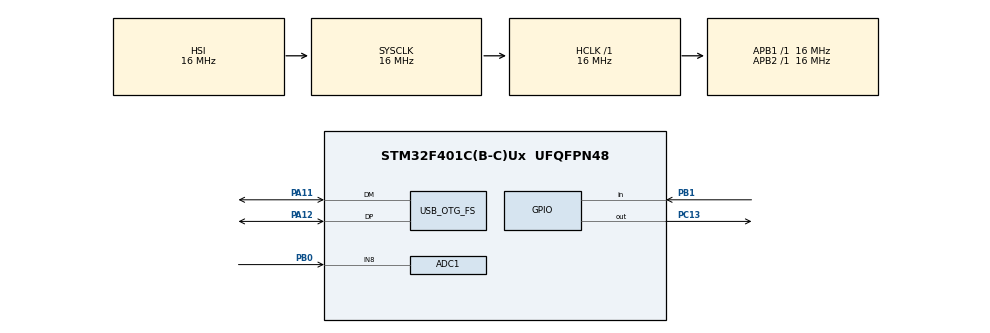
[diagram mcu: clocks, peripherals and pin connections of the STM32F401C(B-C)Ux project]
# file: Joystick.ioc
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ADC1.Channel-17\#ChannelRegularConversion=ADC_CHANNEL_8
ADC1.NbrOfConversionFlag=1
ADC1.Rank-17\#ChannelRegularConversion=1
ADC1.SamplingTime-17\#ChannelRegularConversion=ADC_SAMPLETIME_3CYCLES
ADC1.master=1
Mcu.Family=STM32F4
Mcu.Name=STM32F401C(B-C)Ux
Mcu.Package=UFQFPN48
NVIC.OTG_FS_IRQn=true\:0\:0\:false\:false\:true\:false\:true\:true
NVIC.PriorityGroup=NVIC_PRIORITYGROUP_4
PA11.Mode=Device_Only
PA11.Signal=USB_OTG_FS_DM
PA12.Mode=Device_Only
PA12.Signal=USB_OTG_FS_DP
PB0.Signal=ADCx_IN8
PB1.GPIO_PuPd=GPIO_PULLUP
PB1.Signal=GPIO_Input
PC13-ANTI_TAMP.Signal=GPIO_Output
PH0\ -\ OSC_IN.Mode=HSE-External-Oscillator
PH0\ -\ OSC_IN.Signal=RCC_OSC_IN
PH1\ -\ OSC_OUT.Mode=HSE-External-Oscillator
PH1\ -\ OSC_OUT.Signal=RCC_OSC_OUT
ProjectManager.HeapSize=0x200
ProjectManager.StackSize=0x400
ProjectManager.TargetToolchain=STM32CubeIDE
RCC.48MHZClocksFreq_Value=48000000
RCC.AHBFreq_Value=16000000
RCC.APB1Freq_Value=16000000
RCC.APB1TimFreq_Value=16000000
RCC.APB2Freq_Value=16000000
RCC.APB2TimFreq_Value=16000000
RCC.CortexFreq_Value=16000000
RCC.HCLKFreq_Value=16000000
RCC.HSE_VALUE=25000000
RCC.HSI_VALUE=16000000
RCC.LSE_VALUE=32768
RCC.PLLM=15
RCC.PLLN=144
RCC.PLLQ=5
RCC.SYSCLKFreq_VALUE=16000000
RCC.VCOOutputFreq_Value=240000000
SH.ADCx_IN8.0=ADC1_IN8,IN8
USB_DEVICE.CLASS_NAME_FS=CUSTOM_HID
USB_DEVICE.USBD_CUSTOMHID_OUTREPORT_BUF_SIZE=49
USB_DEVICE.USBD_CUSTOM_HID_REPORT_DESC_SIZE=49
USB_DEVICE.VID=2137
USB_DEVICE.VirtualMode=CustomHid
USB_DEVICE.VirtualModeFS=Custom_Hid_FS
USB_OTG_FS.VirtualMode=Device_Only
VP_USB_DEVICE_VS_USB_DEVICE_CUSTOM_HID_FS.Mode=CUSTOM_HID_FS
board=custom

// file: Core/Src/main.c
/* USER CODE BEGIN Header */
/**
  ******************************************************************************
  * @file           : main.c
  * @brief          : Main program body
  ******************************************************************************
  * @attention
  *
  * Copyright (c) 2026 STMicroelectronics.
  * All rights reserved.
  *
  * This software is licensed under terms that can be found in the LICENSE file
  * in the root directory of this software component.
  * If no LICENSE file comes with this software, it is provided AS-IS.
  *
  ******************************************************************************
  */
/* USER CODE END Header */
#include "main.h"
#include "usb_device.h"

/* USER CODE BEGIN Includes */
#include "usbd_customhid.h"
/* USER CODE END Includes */

ADC_HandleTypeDef hadc1;

void SystemClock_Config(void);
static void MX_GPIO_Init(void);
static void MX_ADC1_Init(void);
/* USER CODE BEGIN PFP */

long map(long x, long in_min, long in_max, long out_min, long out_max) {
  return (x - in_min) * (out_max - out_min) / (in_max - in_min) + out_min;
}
/* USER CODE END PFP */

/* USER CODE BEGIN 0 */
typedef struct __attribute__((packed)) {
	uint8_t buttons;
    uint16_t dx;
    uint16_t dy;
} joystick_report_t;

joystick_report_t joy_data = {0};

extern USBD_HandleTypeDef hUsbDeviceFS;
/* USER CODE END 0 */

int main(void)
{

  /* MCU Configuration--------------------------------------------------------*/

  /* Reset of all peripherals, Initializes the Flash interface and the Systick. */
  HAL_Init();

  /* Configure the system clock */
  SystemClock_Config();

  /* Initialize all configured peripherals */
  MX_GPIO_Init();
  MX_USB_DEVICE_Init();
  MX_ADC1_Init();
  /* USER CODE BEGIN 2 */

  HAL_GPIO_WritePin(GPIOC, GPIO_PIN_13, GPIO_PIN_RESET);
  HAL_ADC_Start(&hadc1);

  uint32_t reportSendTime = 0;

  /* USER CODE END 2 */

  /* Infinite loop */
  while (1)
  {

    /* USER CODE BEGIN 3 */
	  if(HAL_GetTick() - reportSendTime > 4) {
		  reportSendTime = HAL_GetTick();
		  uint32_t adc_raw;
		  //HAL_GPIO_TogglePin(GPIOC, GPIO_PIN_13);
		  if (HAL_ADC_PollForConversion(&hadc1, 10) == HAL_OK) {
			  adc_raw = HAL_ADC_GetValue(&hadc1);
			  joy_data.dx = (uint16_t)adc_raw;
			  HAL_ADC_Start(&hadc1);
		  }

		  joy_data.buttons = !HAL_GPIO_ReadPin(GPIOB, GPIO_PIN_1);

		  USBD_CUSTOM_HID_SendReport(&hUsbDeviceFS, (uint8_t*)&joy_data, sizeof(joy_data));
		}

  }
  /* USER CODE END 3 */
}

void SystemClock_Config(void)
{
  RCC_OscInitTypeDef RCC_OscInitStruct = {0};
  RCC_ClkInitTypeDef RCC_ClkInitStruct = {0};

  /** Configure the main internal regulator output voltage
  */
  __HAL_RCC_PWR_CLK_ENABLE();
  __HAL_PWR_VOLTAGESCALING_CONFIG(PWR_REGULATOR_VOLTAGE_SCALE2);

  /** Initializes the RCC Oscillators according to the specified parameters
  * in the RCC_OscInitTypeDef structure.
  */
  RCC_OscInitStruct.OscillatorType = RCC_OSCILLATORTYPE_HSI|RCC_OSCILLATORTYPE_HSE;
  RCC_OscInitStruct.HSEState = RCC_HSE_ON;
  RCC_OscInitStruct.HSIState = RCC_HSI_ON;
  RCC_OscInitStruct.HSICalibrationValue = RCC_HSICALIBRATION_DEFAULT;
  RCC_OscInitStruct.PLL.PLLState = RCC_PLL_ON;
  RCC_OscInitStruct.PLL.PLLSource = RCC_PLLSOURCE_HSE;
  RCC_OscInitStruct.PLL.PLLM = 15;
  RCC_OscInitStruct.PLL.PLLN = 144;
  RCC_OscInitStruct.PLL.PLLP = RCC_PLLP_DIV2;
  RCC_OscInitStruct.PLL.PLLQ = 5;
  if (HAL_RCC_OscConfig(&RCC_OscInitStruct) != HAL_OK)
  {
    Error_Handler();
  }

  /** Initializes the CPU, AHB and APB buses clocks
  */
  RCC_ClkInitStruct.ClockType = RCC_CLOCKTYPE_HCLK|RCC_CLOCKTYPE_SYSCLK
                              |RCC_CLOCKTYPE_PCLK1|RCC_CLOCKTYPE_PCLK2;
  RCC_ClkInitStruct.SYSCLKSource = RCC_SYSCLKSOURCE_HSI;
  RCC_ClkInitStruct.AHBCLKDivider = RCC_SYSCLK_DIV1;
  RCC_ClkInitStruct.APB1CLKDivider = RCC_HCLK_DIV1;
  RCC_ClkInitStruct.APB2CLKDivider = RCC_HCLK_DIV1;

  if (HAL_RCC_ClockConfig(&RCC_ClkInitStruct, FLASH_LATENCY_0) != HAL_OK)
  {
    Error_Handler();
  }
}

static void MX_ADC1_Init(void)
{

  ADC_ChannelConfTypeDef sConfig = {0};

  /** Configure the global features of the ADC (Clock, Resolution, Data Alignment and number of conversion)
  */
  hadc1.Instance = ADC1;
  hadc1.Init.ClockPrescaler = ADC_CLOCK_SYNC_PCLK_DIV2;
  hadc1.Init.Resolution = ADC_RESOLUTION_12B;
  hadc1.Init.ScanConvMode = DISABLE;
  hadc1.Init.ContinuousConvMode = DISABLE;
  hadc1.Init.DiscontinuousConvMode = DISABLE;
  hadc1.Init.ExternalTrigConvEdge = ADC_EXTERNALTRIGCONVEDGE_NONE;
  hadc1.Init.ExternalTrigConv = ADC_SOFTWARE_START;
  hadc1.Init.DataAlign = ADC_DATAALIGN_RIGHT;
  hadc1.Init.NbrOfConversion = 1;
  hadc1.Init.DMAContinuousRequests = DISABLE;
  hadc1.Init.EOCSelection = ADC_EOC_SINGLE_CONV;
  if (HAL_ADC_Init(&hadc1) != HAL_OK)
  {
    Error_Handler();
  }

  /** Configure for the selected ADC regular channel its corresponding rank in the sequencer and its sample time.
  */
  sConfig.Channel = ADC_CHANNEL_8;
  sConfig.Rank = 1;
  sConfig.SamplingTime = ADC_SAMPLETIME_3CYCLES;
  if (HAL_ADC_ConfigChannel(&hadc1, &sConfig) != HAL_OK)
  {
    Error_Handler();
  }

}

static void MX_GPIO_Init(void)
{
  GPIO_InitTypeDef GPIO_InitStruct = {0};

  /* GPIO Ports Clock Enable */
  __HAL_RCC_GPIOC_CLK_ENABLE();
  __HAL_RCC_GPIOH_CLK_ENABLE();
  __HAL_RCC_GPIOB_CLK_ENABLE();
  __HAL_RCC_GPIOA_CLK_ENABLE();

  /*Configure GPIO pin Output Level */
  HAL_GPIO_WritePin(GPIOC, GPIO_PIN_13, GPIO_PIN_RESET);

  /*Configure GPIO pin : PC13 */
  GPIO_InitStruct.Pin = GPIO_PIN_13;
  GPIO_InitStruct.Mode = GPIO_MODE_OUTPUT_PP;
  GPIO_InitStruct.Pull = GPIO_NOPULL;
  GPIO_InitStruct.Speed = GPIO_SPEED_FREQ_LOW;
  HAL_GPIO_Init(GPIOC, &GPIO_InitStruct);

  /*Configure GPIO pin : PB1 */
  GPIO_InitStruct.Pin = GPIO_PIN_1;
  GPIO_InitStruct.Mode = GPIO_MODE_INPUT;
  GPIO_InitStruct.Pull = GPIO_PULLUP;
  HAL_GPIO_Init(GPIOB, &GPIO_InitStruct);

}

void Error_Handler(void)
{
  __disable_irq();
  while (1)
  {
  }
}
